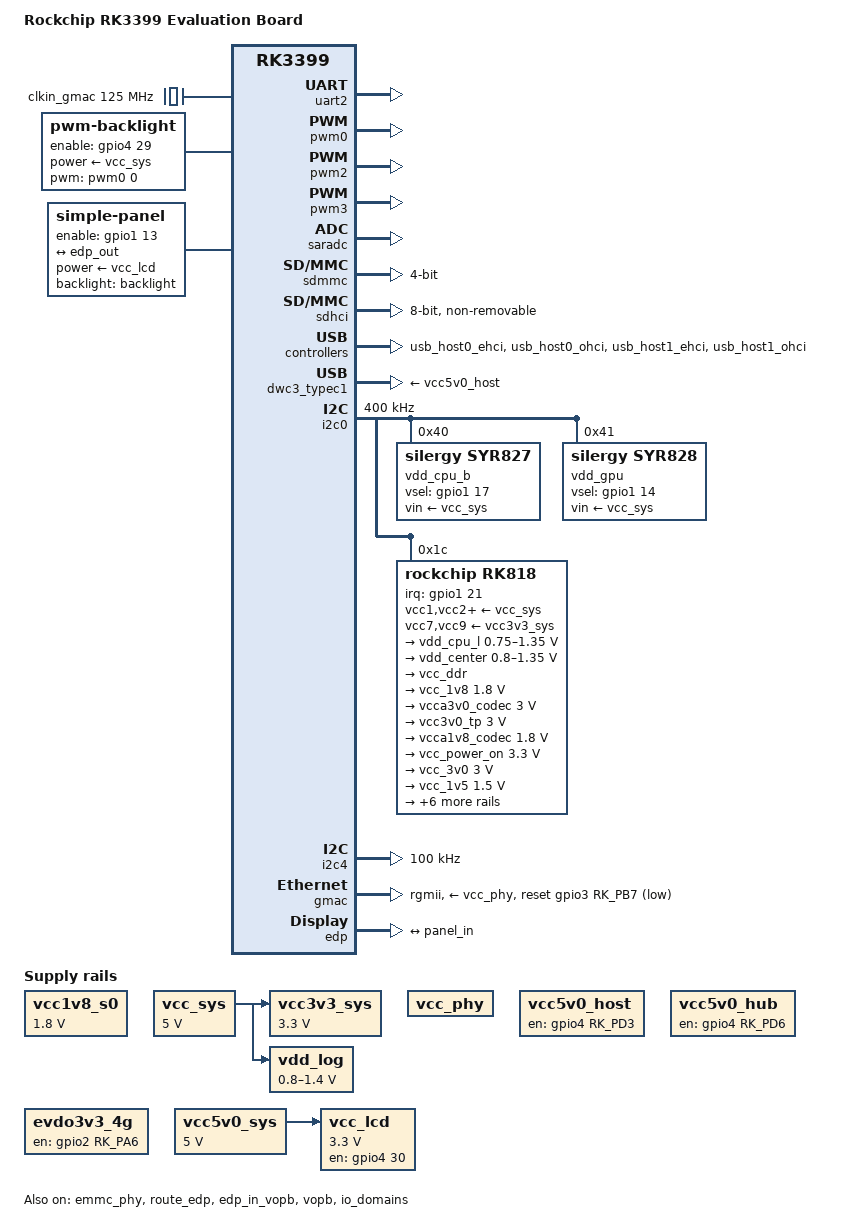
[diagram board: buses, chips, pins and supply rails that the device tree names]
/*
 * (C) Copyright 2016 Rockchip Electronics Co., Ltd
 *
 * SPDX-License-Identifier:     GPL-2.0+
 */

/dts-v1/;
#include <dt-bindings/pwm/pwm.h>
#include <dt-bindings/pinctrl/rockchip.h>
#include "rk3399.dtsi"
#include "rk3399-sdram-lpddr3-4GB-1600.dtsi"
#include "rk3399-u-boot.dtsi"
#include <linux/media-bus-format.h>
#include <dt-bindings/input/input.h>

/ {
	model = "Rockchip RK3399 Evaluation Board";
	compatible = "rockchip,rk3399-evb", "rockchip,rk3399",
		     "google,rk3399evb-rev2";

	vcc1v8_s0: vcc1v8-s0 {
		compatible = "regulator-fixed";
		regulator-name = "vcc1v8_s0";
		regulator-min-microvolt = <1800000>;
		regulator-max-microvolt = <1800000>;
		regulator-always-on;
		regulator-boot-on;
		status = "okay";
	};

	vcc_sys: vcc-sys {
		compatible = "regulator-fixed";
		regulator-name = "vcc_sys";
		regulator-min-microvolt = <5000000>;
		regulator-max-microvolt = <5000000>;
		regulator-always-on;
	};

	vcc_phy: vcc-phy-regulator {
		compatible = "regulator-fixed";
		regulator-name = "vcc_phy";
		regulator-always-on;
		regulator-boot-on;
	};

	vcc3v3_sys: vcc3v3-sys {
		compatible = "regulator-fixed";
		regulator-name = "vcc3v3_sys";
		regulator-min-microvolt = <3300000>;
		regulator-max-microvolt = <3300000>;
		regulator-always-on;
		vin-supply = <&vcc_sys>;
	};

	vcc5v0_host: vcc5v0-host-regulator {
		compatible = "regulator-fixed";
		enable-active-high;
		gpio = <&gpio4 RK_PD3 GPIO_ACTIVE_HIGH>;
		pinctrl-names = "default";
		pinctrl-0 = <&host_vbus_drv>;
		regulator-name = "vcc5v0_host";
		regulator-always-on;
	};

	vcc5v0_hub: vcc5v0-hub-regulator {
		compatible = "regulator-fixed";
		enable-active-high;
		gpio = <&gpio4 RK_PD6 GPIO_ACTIVE_HIGH>;
		pinctrl-names = "default";
		pinctrl-0 = <&usb_hub_en>;
		regulator-name = "vcc5v0-hub";
		regulator-always-on;
	};

	evdo3v3_4g: evdo3v3-4g-regulator {
		compatible = "regulator-fixed";
		enable-active-high;
		gpio = <&gpio2 RK_PA6 GPIO_ACTIVE_HIGH>;
		pinctrl-names = "default";
		pinctrl-0 = <&evdo_en>;
		regulator-name = "evdo3v3-4g";
		regulator-always-on;
	};

	vdd_log: vdd-log {
		compatible = "pwm-regulator";
		pwms = <&pwm2 0 25000 1>;
		regulator-name = "vdd_log";
		regulator-min-microvolt = <800000>;
		regulator-max-microvolt = <1400000>;
		regulator-always-on;
		regulator-boot-on;

		/* for rockchip boot on */
		rockchip,pwm_id= <2>;
		rockchip,pwm_voltage = <900000>;

		vin-supply = <&vcc_sys>;
	};

	clkin_gmac: external-gmac-clock {
		compatible = "fixed-clock";
		clock-frequency = <125000000>;
		clock-output-names = "clkin_gmac";
		#clock-cells = <0>;
	};

	backlight: backlight {
		compatible = "pwm-backlight";
		power-supply = <&vcc_sys>;
		enable-gpios = <&gpio1 13 GPIO_ACTIVE_HIGH>;
		brightness-levels = <
			  0   1   2   3   4   5   6   7
			  8   9  10  11  12  13  14  15
			 16  17  18  19  20  21  22  23
			 24  25  26  27  28  29  30  31
			 32  33  34  35  36  37  38  39
			 40  41  42  43  44  45  46  47
			 48  49  50  51  52  53  54  55
			 56  57  58  59  60  61  62  63
			 64  65  66  67  68  69  70  71
			 72  73  74  75  76  77  78  79
			 80  81  82  83  84  85  86  87
			 88  89  90  91  92  93  94  95
			 96  97  98  99 100 101 102 103
			104 105 106 107 108 109 110 111
			112 113 114 115 116 117 118 119
			120 121 122 123 124 125 126 127
			128 129 130 131 132 133 134 135
			136 137 138 139 140 141 142 143
			144 145 146 147 148 149 150 151
			152 153 154 155 156 157 158 159
			160 161 162 163 164 165 166 167
			168 169 170 171 172 173 174 175
			176 177 178 179 180 181 182 183
			184 185 186 187 188 189 190 191
			192 193 194 195 196 197 198 199
			200 201 202 203 204 205 206 207
			208 209 210 211 212 213 214 215
			216 217 218 219 220 221 222 223
			224 225 226 227 228 229 230 231
			232 233 234 235 236 237 238 239
			240 241 242 243 244 245 246 247
			248 249 250 251 252 253 254 255>;
		default-brightness-level = <200>;
		pwms = <&pwm0 0 25000 0>;
		pinctrl-names = "default";
		pinctrl-0 = <&pwm0_pin>;
		pwm-delay-us = <10000>;
		status = "disabled";
	};

	vcc5v0_sys: vcc5v0-sys {
		compatible = "regulator-fixed";
		regulator-name = "vcc5v0_sys";
		regulator-always-on;
		regulator-boot-on;
		regulator-min-microvolt = <5000000>;
		regulator-max-microvolt = <5000000>;
	};

	vcc_lcd: vcc-lcd {
		compatible = "regulator-fixed";
		regulator-name = "vcc_lcd";
		gpio = <&gpio4 30 GPIO_ACTIVE_HIGH>;
		startup-delay-us = <20000>;
		enable-active-high;
		regulator-min-microvolt = <3300000>;
		regulator-max-microvolt = <3300000>;
		regulator-boot-on;
		vin-supply = <&vcc5v0_sys>;
	};

	panel: panel {
		compatible = "simple-panel";
		backlight = <&backlight>;
		power-supply = <&vcc_lcd>;
		enable-gpios = <&gpio1 13 GPIO_ACTIVE_HIGH>;
		prepare-delay-ms = <20>;
		enable-delay-ms = <20>;

		display-timings {
			native-mode = <&timing0>;

			timing0: timing0 {
				clock-frequency = <200000000>;
				hactive = <1536>;
				vactive = <2048>;
				hfront-porch = <12>;
				hsync-len = <16>;
				hback-porch = <48>;
				vfront-porch = <8>;
				vsync-len = <4>;
				vback-porch = <8>;
				hsync-active = <0>;
				vsync-active = <0>;
				de-active = <0>;
				pixelclk-active = <0>;
			};
		};

		ports {
			panel_in: endpoint {
				remote-endpoint = <&edp_out>;
			};
		};
	};

};


&uart2 {
	status = "okay";
};

&emmc_phy {
	status = "okay";
};

&pwm0 {
	status = "okay";
};

&pwm2 {
	status = "okay";
};

&pwm3 {
	status = "okay";
};

&saradc {
	status = "okay";
};

&sdmmc {
	bus-width = <4>;
	status = "okay";
};

&sdhci {
	bus-width = <8>;
	mmc-hs400-1_8v;
	mmc-hs400-enhanced-strobe;
	non-removable;
	status = "okay";
};

&usb_host0_ehci {
	status = "okay";
};

&usb_host0_ohci {
	status = "okay";
};

&usb_host1_ehci {
	status = "okay";
};

&usb_host1_ohci {
	status = "okay";
};

&dwc3_typec1 {
	vbus-supply = <&vcc5v0_host>;
	status = "okay";
};

&i2c0 {
	status = "okay";
	i2c-scl-rising-time-ns = <168>;
	i2c-scl-falling-time-ns = <4>;
	clock-frequency = <400000>;

	vdd_cpu_b: syr827@40 {
		compatible = "silergy,syr827";
		reg = <0x40>;
		regulator-compatible = "fan53555-reg";
		pinctrl-0 = <&vsel1_gpio>;
		vsel-gpios = <&gpio1 17 GPIO_ACTIVE_HIGH>;
		regulator-name = "vdd_cpu_b";
		regulator-min-microvolt = <712500>;
		regulator-max-microvolt = <1500000>;
		regulator-ramp-delay = <1000>;
		fcs,suspend-voltage-selector = <1>;
		regulator-always-on;
		regulator-boot-on;
		vin-supply = <&vcc_sys>;
		regulator-state-mem {
			regulator-off-in-suspend;
		};
	};

	vdd_gpu: syr828@41 {
		compatible = "silergy,syr828";
		reg = <0x41>;
		regulator-compatible = "fan53555-reg";
		pinctrl-0 = <&vsel2_gpio>;
		vsel-gpios = <&gpio1 14 GPIO_ACTIVE_HIGH>;
		regulator-name = "vdd_gpu";
		regulator-min-microvolt = <712500>;
		regulator-max-microvolt = <1500000>;
		regulator-ramp-delay = <1000>;
		fcs,suspend-voltage-selector = <1>;
		regulator-always-on;
		regulator-boot-on;
		vin-supply = <&vcc_sys>;
		regulator-initial-mode = <1>; /* 1:force PWM 2:auto */
		regulator-state-mem {
			regulator-off-in-suspend;
		};
	};

	rk818: pmic@1c {
		compatible = "rockchip,rk818";
		status = "okay";
		reg = <0x1c>;
		clock-output-names = "rk818-clkout1", "wifibt_32kin";
		interrupt-parent = <&gpio1>;
		interrupts = <21 IRQ_TYPE_LEVEL_LOW>;
		pinctrl-names = "default";
		pinctrl-0 = <&pmic_int_l>;
		rockchip,system-power-controller;
		rk818,support_dc_chg = <1>;/*1: dc chg; 0:usb chg*/
		wakeup-source;
		extcon = <&fusb0>;
		#clock-cells = <1>;

		vcc1-supply = <&vcc_sys>;
		vcc2-supply = <&vcc_sys>;
		vcc3-supply = <&vcc_sys>;
		vcc4-supply = <&vcc_sys>;
		vcc6-supply = <&vcc_sys>;
		vcc7-supply = <&vcc3v3_sys>;
		vcc8-supply = <&vcc_sys>;
		vcc9-supply = <&vcc3v3_sys>;

		regulators {
			vdd_cpu_l: DCDC_REG1 {
				regulator-name = "vdd_cpu_l";
				regulator-always-on;
				regulator-boot-on;
				regulator-min-microvolt = <750000>;
				regulator-max-microvolt = <1350000>;
				regulator-ramp-delay = <6001>;
				regulator-state-mem {
					regulator-off-in-suspend;
				};
			};

			vdd_center: DCDC_REG2 {
				regulator-name = "vdd_center";
				regulator-always-on;
				regulator-boot-on;
				regulator-min-microvolt = <800000>;
				regulator-max-microvolt = <1350000>;
				regulator-ramp-delay = <6001>;
				regulator-state-mem {
					regulator-off-in-suspend;
				};
			};

			vcc_ddr: DCDC_REG3 {
				regulator-name = "vcc_ddr";
				regulator-always-on;
				regulator-boot-on;
				regulator-state-mem {
					regulator-on-in-suspend;
				};
			};

			vcc_1v8: DCDC_REG4 {
				regulator-name = "vcc_1v8";
				regulator-always-on;
				regulator-boot-on;
				regulator-min-microvolt = <1800000>;
				regulator-max-microvolt = <1800000>;
				regulator-state-mem {
					regulator-on-in-suspend;
					regulator-suspend-microvolt = <1800000>;
				};
			};

			vcca3v0_codec: LDO_REG1 {
				regulator-always-on;
				regulator-boot-on;
				regulator-min-microvolt = <3000000>;
				regulator-max-microvolt = <3000000>;
				regulator-name = "vcca3v0_codec";
				regulator-state-mem {
					regulator-off-in-suspend;
				};
			};

			vcc3v0_tp: LDO_REG2 {
				regulator-always-on;
				regulator-boot-on;
				regulator-min-microvolt = <3000000>;
				regulator-max-microvolt = <3000000>;
				regulator-name = "vcc3v0_tp";
				regulator-state-mem {
					regulator-off-in-suspend;
				};
			};

			vcca1v8_codec: LDO_REG3 {
				regulator-always-on;
				regulator-boot-on;
				regulator-min-microvolt = <1800000>;
				regulator-max-microvolt = <1800000>;
				regulator-name = "vcca1v8_codec";
				regulator-state-mem {
					regulator-off-in-suspend;
				};
			};

			vcc_power_on: LDO_REG4 {
				regulator-always-on;
				regulator-boot-on;
				regulator-min-microvolt = <3300000>;
				regulator-max-microvolt = <3300000>;
				regulator-name = "vcc_power_on";
				regulator-state-mem {
					regulator-on-in-suspend;
					regulator-suspend-microvolt = <3300000>;
				};
			};

			vcc_3v0: LDO_REG5 {
				regulator-always-on;
				regulator-boot-on;
				regulator-min-microvolt = <3000000>;
				regulator-max-microvolt = <3000000>;
				regulator-name = "vcc_3v0";
				regulator-state-mem {
					regulator-on-in-suspend;
					regulator-suspend-microvolt = <3000000>;
				};
			};

			vcc_1v5: LDO_REG6 {
				regulator-always-on;
				regulator-boot-on;
				regulator-min-microvolt = <1500000>;
				regulator-max-microvolt = <1500000>;
				regulator-name = "vcc_1v5";
				regulator-state-mem {
					regulator-on-in-suspend;
					regulator-suspend-microvolt = <1500000>;
				};
			};

			vcc1v8_dvp: LDO_REG7 {
				regulator-always-on;
				regulator-boot-on;
				regulator-min-microvolt = <1800000>;
				regulator-max-microvolt = <1800000>;
				regulator-name = "vcc1v8_dvp";
				regulator-state-mem {
					regulator-off-in-suspend;
				};
			};

			vcc3v3_s3: LDO_REG8 {
				regulator-always-on;
				regulator-boot-on;
				regulator-min-microvolt = <3300000>;
				regulator-max-microvolt = <3300000>;
				regulator-name = "vcc3v3_s3";
				regulator-state-mem {
					regulator-off-in-suspend;
				};
			};

			vcc_sd: LDO_REG9 {
				regulator-always-on;
				regulator-boot-on;
				regulator-min-microvolt = <1800000>;
				regulator-max-microvolt = <3000000>;
				regulator-name = "vcc_sd";
				regulator-state-mem {
					regulator-on-in-suspend;
					regulator-suspend-microvolt = <3000000>;
				};
			};

			vcc3v3_s0: SWITCH_REG {
				regulator-always-on;
				regulator-boot-on;
				regulator-name = "vcc3v3_s0";
				regulator-state-mem {
					regulator-on-in-suspend;
				};
			};

			boost_otg: DCDC_BOOST {
				regulator-name = "boost_otg";
				regulator-always-on;
				regulator-boot-on;
				regulator-min-microvolt = <5000000>;
				regulator-max-microvolt = <5000000>;
				regulator-state-mem {
					regulator-on-in-suspend;
					regulator-suspend-microvolt = <5000000>;
				};
			};

			otg_switch: OTG_SWITCH {
				regulator-name = "otg_switch";
			};
		};

		battery {
			compatible = "rk818-battery";
			ocv_table = <3400 3675 3689 3716 3740 3756 3768 3780
				3793 3807 3827 3853 3896 3937 3974 4007 4066
				4110 4161 4217 4308>;
			design_capacity = <7916>;
			design_qmax = <8708>;
			bat_res = <65>;
			max_input_current = <3000>;
			max_chrg_current = <3000>;
			max_chrg_voltage = <4350>;
			sleep_enter_current = <300>;
			sleep_exit_current = <300>;
			power_off_thresd = <3400>;
			zero_algorithm_vol = <3950>;
			fb_temperature = <105>;
			sample_res = <20>;
			max_soc_offset = <60>;
			energy_mode = <0>;
			monitor_sec = <5>;
			virtual_power = <0>;
			power_dc2otg = <0>;
		};
	};
};

&i2c4 {
	status = "okay";
	clock-frequency = <100000>;
	fusb0: fusb30x@22 {
		compatible = "fairchild,fusb302";
		reg = <0x22>;
		pinctrl-names = "default";
		pinctrl-0 = <&fusb0_int>;

		int-n-gpios = <&gpio1 2 GPIO_ACTIVE_HIGH>;
		status = "disabled";
	};
};

&mipi_dsi {
	status = "disabled";
	rockchip,panel = <&panel>;
	display-timings {
		timing0 {
		bits-per-pixel = <24>;
		clock-frequency = <160000000>;
		hfront-porch = <120>;
		hsync-len = <20>;
		hback-porch = <21>;
		hactive = <1200>;
		vfront-porch = <21>;
		vsync-len = <3>;
		vback-porch = <18>;
		vactive = <1920>;
		hsync-active = <0>;
		vsync-active = <0>;
		de-active = <1>;
		pixelclk-active = <0>;
		};
	};
};

&pinctrl {
	pmic {
		pmic_int_l: pmic-int-l {
			rockchip,pins =
				<1 RK_PC5 RK_FUNC_GPIO &pcfg_pull_up>;
		};

		vsel1_gpio: vsel1-gpio {
			rockchip,pins =
				<1 17 RK_FUNC_GPIO &pcfg_pull_down>;
		};

		vsel2_gpio: vsel2-gpio {
			rockchip,pins =
				<1 14 RK_FUNC_GPIO &pcfg_pull_down>;
		};
	};

	usb2 {
		host_vbus_drv: host-vbus-drv {
			rockchip,pins =
				<4 RK_PD3 RK_FUNC_GPIO &pcfg_pull_none>;
		};
		usb_hub_en: usb-hub-en {
			rockchip,pins =
				<4 RK_PD6 RK_FUNC_GPIO &pcfg_pull_none>;
		};
	};

	fusb30x {
		fusb0_int: fusb0-int {
			rockchip,pins =
				<1 2 RK_FUNC_GPIO &pcfg_pull_up>;
		};
	};

	evdo {
		evdo_en: evdo-en{
			rockchip,pins = <2 RK_PA6 RK_FUNC_GPIO &pcfg_pull_none>;
		};
	};
};

&gmac {
        phy-supply = <&vcc_phy>;
	phy-mode = "rgmii";
	clock_in_out = "input";
	snps,reset-gpio = <&gpio3 RK_PB7 GPIO_ACTIVE_LOW>;
	snps,reset-active-low;
	snps,reset-delays-us = <0 10000 50000>;
	assigned-clocks = <&cru SCLK_RMII_SRC>;
	assigned-clock-parents = <&clkin_gmac>;
	pinctrl-names = "default";
	pinctrl-0 = <&rgmii_pins>;
	tx_delay = <0x28>;
	rx_delay = <0x11>;
	status = "okay";
};

&backlight {
	status = "okay";
	enable-gpios = <&gpio4 29 GPIO_ACTIVE_HIGH>;
};

&route_edp {
	status = "okay";
};

&edp_in_vopl {
	status = "disabled";
};

&edp_in_vopb {
	status = "okay";
};

&edp {
	status = "okay";
	force-hpd;

	ports {
		port@1 {
			reg = <1>;

			edp_out: endpoint {
				remote-endpoint = <&panel_in>;
			};
		};
	};
};

&vopb {
	status = "okay";
};

&io_domains {
	status = "okay";

	bt656-supply = <&vcc_3v0>; /* bt656_gpio2ab_ms */
	audio-supply = <&vcc_1v8>; /* audio_gpio3d4a_ms */
	sdmmc-supply = <&vcc_sd>; /* sdmmc_gpio4b_ms */
	gpio1830-supply = <&vcc_3v0>; /* gpio1833_gpio4cd_ms */
};

&pmu_io_domains {
	status = "okay";
	pmu1830-supply = <&vcc_1v8>;
};

